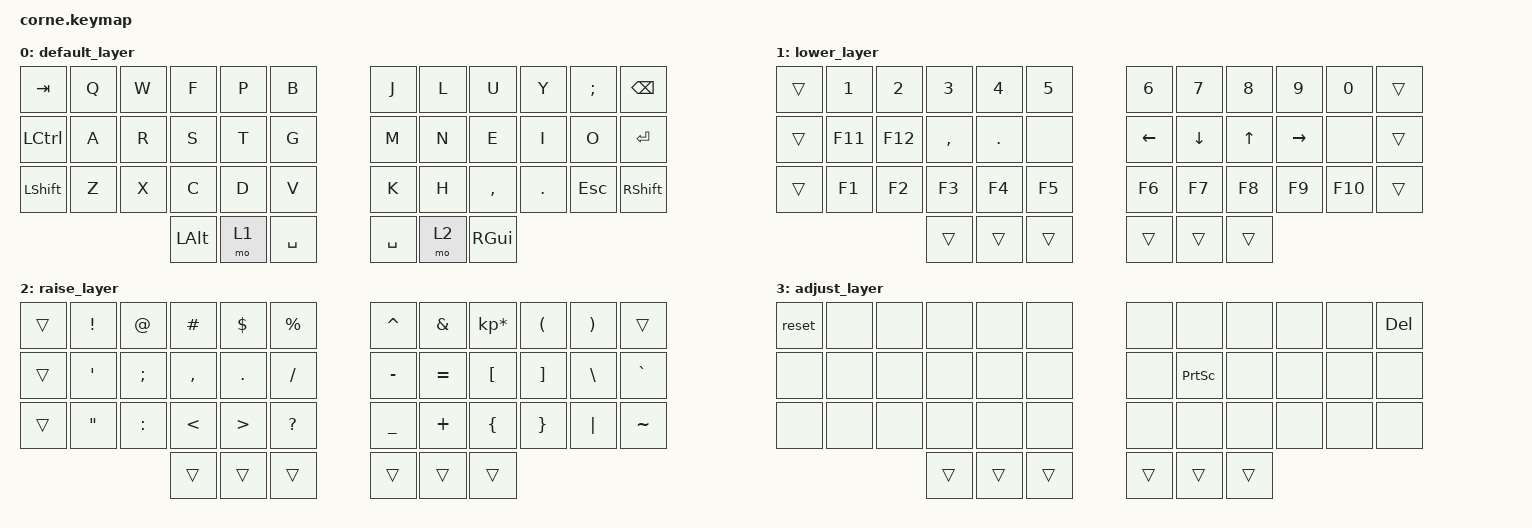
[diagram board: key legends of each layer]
/*
 * Copyright (c) 2020 The ZMK Contributors
 *
 * SPDX-License-Identifier: MIT
 */

#include <behaviors.dtsi>
#include <dt-bindings/zmk/keys.h>
#include <dt-bindings/zmk/bt.h>

/ {
        conditional_layers {
                compatible = "zmk,conditional-layers";
                tri-layer {
                        if-layers = <1 2>;
                        then-layer = <3>;
                };
        };

        keymap {
                compatible = "zmk,keymap";

                default_layer {
// -----------------------------------------------------------------------------------------
// |  TAB |  Q  |  W  |  F  |  P  |  B  |   |  J  |  L  |  U  |  Y  |  ;  | BKSP |
// | CTRL |  A  |  R  |  S  |  T  |  G  |   |  M  |  N  |  E  |  I  |  O  | ENT  |
// | SHFT |  Z  |  X  |  C  |  D  |  V  |   |  K  |  H  |  ,  |  .  | ESC | SHFT |
//                    | ALT | LWR | SPC |   | SPC | RSE | GUI |
                        bindings = <
   &kp TAB   &kp Q &kp W &kp F &kp P &kp B   &kp J &kp L  &kp U     &kp Y   &kp SEMI &kp BSPC
   &kp LCTRL &kp A &kp R &kp S &kp T &kp G   &kp M &kp N  &kp E     &kp I   &kp O    &kp RET
   &kp LSHFT &kp Z &kp X &kp C &kp D &kp V   &kp K &kp H  &kp COMMA &kp DOT &kp ESC  &kp RSHFT
                  &kp LALT &mo 1 &kp SPACE   &kp SPACE &mo 2 &kp RGUI
                        >;
                };
                lower_layer {

// -----------------------------------------------------------------------------------------
// |  v  |  1  |  2  |  3  |  4  |  5  |   |  6  |  7  |  8  |  9  |  0  |  v  |
// |  v  | F11 | F12 |  ,  |  .  |     |   | LFT | DWN |  UP | RGT |     |  v  |
// |  v  | F1  | F2  | F3  | F4  | F5  |   | F6  | F7  | F8  | F9  | F10 |  v  |
//                   |  v  |     |  v  |   |  v  |     |  v  |
                        bindings = <
   &trans &kp N1       &kp N2       &kp N3       &kp N4       &kp N5         &kp N6   &kp N7   &kp N8 &kp N9    &kp N0  &trans
   &trans &kp F11      &kp F12      &kp COMMA    &kp DOT      &none          &kp LEFT &kp DOWN &kp UP &kp RIGHT &none   &trans
   &trans &kp F1       &kp F2       &kp F3       &kp F4       &kp F5         &kp F6   &kp F7   &kp F8 &kp F9    &kp F10 &trans
                          	        &trans       &trans       &trans         &trans   &trans   &trans  
                        >;
                };

                raise_layer {
// -----------------------------------------------------------------------------------------
// |  v  |  !  |  @  |  #  |  $  |  %  |   |  ^  |  &  |  *  |  (  |  )  |  v  |
// |  v  |  '  |  ;  |  ,  |  .  |  /  |   |  -  |  =  |  [  |  ]  |  \  |  `  |
// |  v  |  "  |  :  |  <  |  >  |  ?  |   |  _  |  +  |  {  |  }  | "|" |  ~  |
//                   |  v  |     |  v  |   |  v  |     |  v  |
                        bindings = <
   &trans &kp EXCL &kp AT    &kp HASH  &kp DLLR &kp PRCNT   &kp CARET &kp AMPS  &kp KP_MULTIPLY &kp LPAR &kp RPAR &trans
   &trans &kp SQT  &kp SEMI  &kp COMMA &kp DOT  &kp SLASH   &kp MINUS &kp EQUAL &kp LBKT        &kp RBKT &kp BSLH &kp GRAVE
   &trans &kp DQT  &kp COLON &kp LT    &kp GT   &kp QMARK   &kp UNDER &kp PLUS  &kp LBRC        &kp RBRC &kp PIPE &kp TILDE
                    	     &trans    &trans   &trans      &trans    &trans    &trans  
                        >;
                };

                adjust_layer {
                        bindings = <
   &reset &none &none &none  &none  &none    &none  &none     &none &none &none &kp DEL
   &none  &none &none &none  &none  &none    &none  &kp PSCRN &none &none &none &none
   &none  &none &none &none  &none  &none    &none  &none     &none &none &none &none
                      &trans &trans &trans   &trans &trans    &trans
                      >;
                };
        };
};
